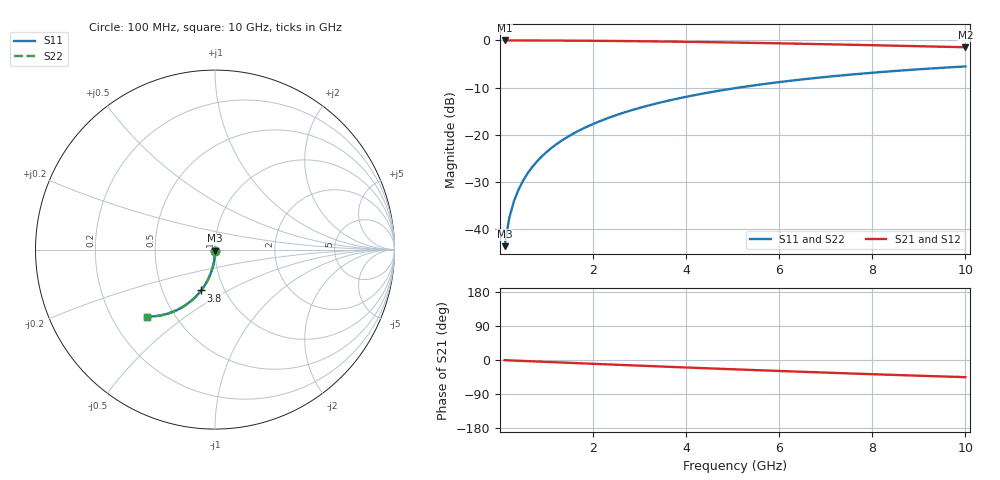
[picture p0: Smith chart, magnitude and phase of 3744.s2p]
# Hz S RI R 50.00
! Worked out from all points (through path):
!   100 points, 100 MHz to 10 GHz, reference 50 ohm
!   highest |S21| = 0.00 dB at 100 MHz (marker M1); lowest = -1.4 dB at 10 GHz (marker M2)
!   group delay of S21, straight-line fit = 12.6 ps
!   lowest |S11| = -43.7 dB at 100 MHz (marker M3), VSWR 1.01, Z = 50 - j0.655 ohm
!   |S11| at or under -10 dB: start of sweep to 5.141 GHz
!   |S22| runs from -43.7 to -5.5 dB; largest |S21 - S12| = 0
!   S11 on the Smith chart (normalised r, x): 100 MHz: 1.00, -0.01; 3.8 GHz: 0.78, -0.38; 10 GHz: 0.35, -0.37
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1e8  0.000303 -0.00655  0.9996 -0.00877  0.9996 -0.00877  0.000303 -0.00655
2e8  0.000126 -0.0131  0.9994 -0.0175  0.9994 -0.0175  0.000126 -0.0131
3e8  -0.000167 -0.0196  0.9991 -0.0263  0.9991 -0.0263  -0.000167 -0.0196
4e8  -0.000574 -0.0262  0.9986 -0.035  0.9986 -0.035  -0.000574 -0.0262
5e8  -0.0011 -0.0327  0.9981 -0.0438  0.9981 -0.0438  -0.0011 -0.0327
6e8  -0.00173 -0.0392  0.9974 -0.0525  0.9974 -0.0525  -0.00173 -0.0392
8e8  -0.00335 -0.0522  0.9957 -0.0699  0.9957 -0.0699  -0.00335 -0.0522
9e8  -0.00432 -0.0586  0.9947 -0.0786  0.9947 -0.0786  -0.00432 -0.0586
1.1e9  -0.00661 -0.0715  0.9923 -0.0959  0.9923 -0.0959  -0.00661 -0.0715
1.4e9  -0.0109 -0.0906  0.9879 -0.1217  0.9879 -0.1217  -0.0109 -0.0906
1.8e9  -0.0181 -0.1155  0.9804 -0.1555  0.9804 -0.1555  -0.0181 -0.1155
2.1e9  -0.0246 -0.1338  0.9736 -0.1805  0.9736 -0.1805  -0.0246 -0.1338
2.5e9  -0.0346 -0.1575  0.963 -0.2131  0.963 -0.2131  -0.0346 -0.1575
2.9e9  -0.0462 -0.1803  0.9509 -0.2448  0.9509 -0.2448  -0.0462 -0.1803
3.4e9  -0.0627 -0.2073  0.9336 -0.2831  0.9336 -0.2831  -0.0627 -0.2073
3.8e9  -0.0773 -0.2276  0.9183 -0.3124  0.9183 -0.3124  -0.0773 -0.2276
4.4e9  -0.1013 -0.2558  0.893 -0.3541  0.893 -0.3541  -0.1013 -0.2558
5.1e9  -0.1321 -0.2849  0.8606 -0.3991  0.8606 -0.3991  -0.1321 -0.2849
5.9e9  -0.1699 -0.313  0.8204 -0.4455  0.8204 -0.4455  -0.1699 -0.313
6.7e9  -0.2097 -0.3355  0.778 -0.4863  0.778 -0.4863  -0.2097 -0.3355
8.4e9  -0.2967 -0.3652  0.6841 -0.5557  0.6841 -0.5557  -0.2967 -0.3652
1e10  -0.3765 -0.3729  0.5961 -0.6015  0.5961 -0.6015  -0.3765 -0.3729
